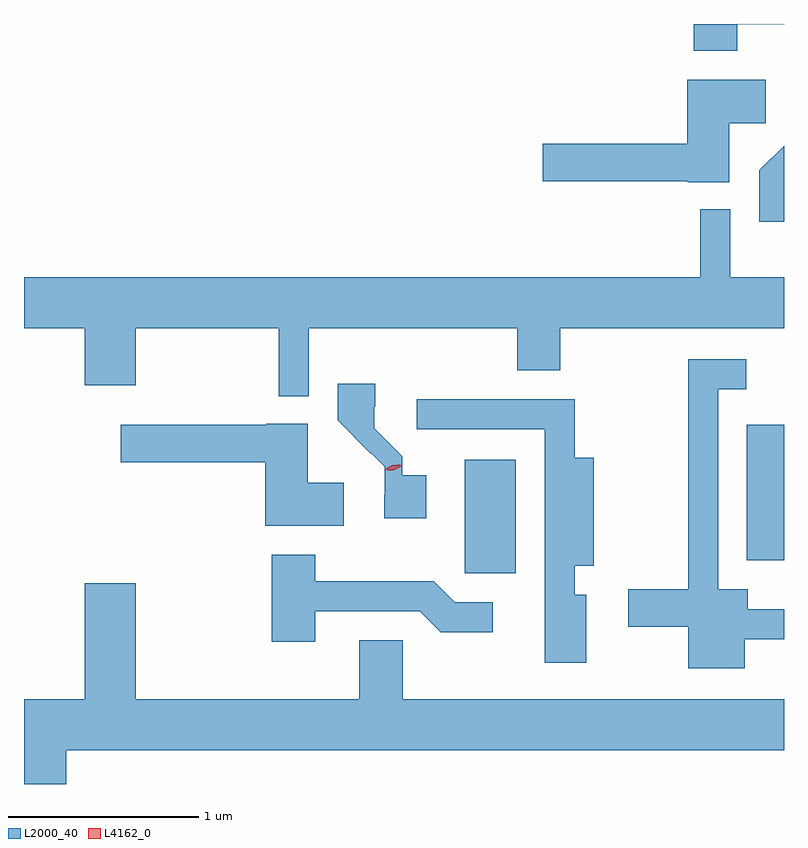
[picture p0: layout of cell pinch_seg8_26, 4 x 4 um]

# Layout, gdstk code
import gdstk
lib = gdstk.Library(unit=1e-6, precision=1e-09)
def R(c, l, rs):  # rectangles x0, y0, x1, y1
    for r in rs: c.add(gdstk.rectangle(r[:2], r[2:], *l))
def P(c, l, *ps):  # polygons
    for p in ps: c.add(gdstk.Polygon(p, *l))
L2000_40 = (2000, 40)
L4162_0 = (4162, 0)

pinch_seg8_26 = lib.new_cell('pinch_seg8_26')
R(pinch_seg8_26, L2000_40, [(836.456,1932.806,836.724,1933.404), (837.941,1932.876,838.136,1933.589)])
P(pinch_seg8_26, L2000_40, [(837.889,1935.696),(838.136,1935.696),(838.136,1935.698),(837.661,1935.698),(837.661,1935.556),(837.889,1935.556)],
  [(837.849,1935.176),(838.039,1935.176),(838.039,1935.404),(837.626,1935.404),(837.626,1935.069),(836.866,1935.069),(836.866,1934.871),(837.63,1934.871),(837.63,1934.866),(837.849,1934.866)],
  [(838.136,1935.057),(838.006,1934.927),(838.006,1934.656),(838.136,1934.656)],
  [(834.136,1934.096),(834.456,1934.096),(834.456,1933.796),(834.724,1933.796),(834.724,1934.096),(835.476,1934.096),(835.476,1933.738),(835.634,1933.738),(835.634,1934.096),(836.731,1934.096),(836.731,1933.876),(836.959,1933.876),(836.959,1934.096),(838.136,1934.096),(838.136,1934.364),(837.854,1934.364),(837.854,1934.723),(837.696,1934.723),(837.696,1934.364),(834.136,1934.364)],
  [(837.929,1932.461),(838.136,1932.461),(838.136,1932.619),(837.944,1932.619),(837.944,1932.724),(837.789,1932.724),(837.789,1933.776),(837.938,1933.776),(837.938,1933.934),(837.631,1933.934),(837.631,1932.724),(837.316,1932.724),(837.316,1932.526),(837.631,1932.526),(837.631,1932.306),(837.929,1932.306)],
  [(836.254,1933.324),(836.128,1933.324),(836.128,1933.423),(835.98,1933.571),(835.98,1933.683),(835.984,1933.683),(835.984,1933.804),(835.786,1933.804),(835.786,1933.613),(835.962,1933.437),(835.964,1933.44),(836.035,1933.369),(836.035,1933.22),(836.031,1933.22),(836.031,1933.096),(836.254,1933.096)],
  [(837.094,1932.694),(837.034,1932.694),(837.034,1932.846),(837.134,1932.846),(837.134,1933.414),(837.034,1933.414),(837.034,1933.724),(836.203,1933.724),(836.203,1933.566),(836.876,1933.566),(836.876,1932.336),(837.094,1932.336)],
  [(835.819,1933.284),(835.629,1933.284),(835.629,1933.594),(835.41,1933.594),(835.41,1933.589),(834.646,1933.589),(834.646,1933.391),(835.406,1933.391),(835.406,1933.056),(835.819,1933.056)],
  [(835.669,1932.606),(836.219,1932.606),(836.329,1932.496),(836.603,1932.496),(836.603,1932.654),(836.402,1932.654),(836.292,1932.764),(835.669,1932.764),(835.669,1932.904),(835.441,1932.904),(835.441,1932.446),(835.669,1932.446)],
  [(834.359,1931.876),(838.136,1931.876),(838.136,1932.144),(836.129,1932.144),(836.129,1932.454),(835.901,1932.454),(835.901,1932.144),(834.724,1932.144),(834.724,1932.754),(834.456,1932.754),(834.456,1932.144),(834.136,1932.144),(834.136,1931.698),(834.359,1931.698)])
P(pinch_seg8_26, L4162_0, [(836.038,1933.346),(836.039,1933.346),(836.077,1933.368),(836.12,1933.372),(836.121,1933.372),(836.121,1933.371),(836.083,1933.349),(836.039,1933.346)],
  [(836.031,1933.351),(836.031,1933.352),(836.074,1933.376),(836.123,1933.382),(836.124,1933.381),(836.124,1933.381),(836.08,1933.357),(836.032,1933.351)])

lib.write_gds('pinch_seg8_26.gds')
